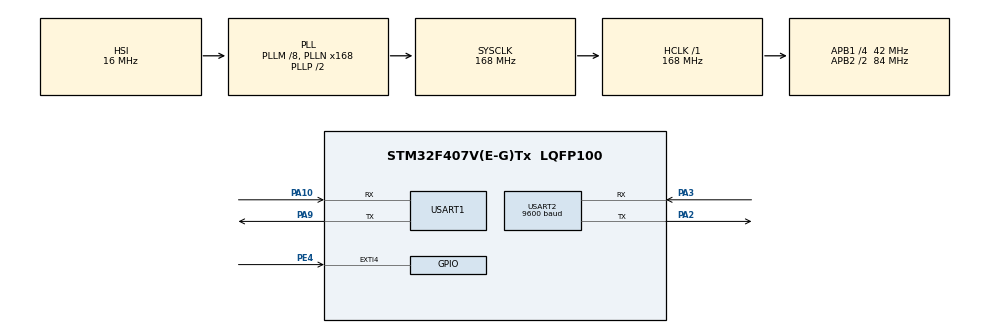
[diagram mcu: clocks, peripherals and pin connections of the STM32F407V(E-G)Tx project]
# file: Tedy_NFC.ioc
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Mcu.Family=STM32F4
Mcu.Name=STM32F407V(E-G)Tx
Mcu.Package=LQFP100
NVIC.EXTI4_IRQn=true\:2\:0\:true\:false\:true\:true
NVIC.PriorityGroup=NVIC_PRIORITYGROUP_4
NVIC.RCC_IRQn=true\:0\:0\:false\:false\:true\:true
NVIC.USART1_IRQn=true\:1\:0\:true\:false\:true\:true
NVIC.USART2_IRQn=true\:3\:0\:true\:false\:true\:true
PA10.Mode=Asynchronous
PA10.Signal=USART1_RX
PA13.Mode=Serial_Wire
PA13.Signal=SYS_JTMS-SWDIO
PA14.Mode=Serial_Wire
PA14.Signal=SYS_JTCK-SWCLK
PA2.Mode=Asynchronous
PA2.Signal=USART2_TX
PA3.Mode=Asynchronous
PA3.Signal=USART2_RX
PA9.Mode=Asynchronous
PA9.Signal=USART1_TX
PE4.GPIO_ModeDefaultEXTI=GPIO_MODE_IT_RISING_FALLING
PE4.GPIO_PuPd=GPIO_PULLUP
PE4.Signal=GPXTI4
PH0-OSC_IN.Mode=HSE-External-Oscillator
PH0-OSC_IN.Signal=RCC_OSC_IN
PH1-OSC_OUT.Mode=HSE-External-Oscillator
PH1-OSC_OUT.Signal=RCC_OSC_OUT
ProjectManager.HeapSize=0x200
ProjectManager.StackSize=0x400
ProjectManager.TargetToolchain=MDK-ARM V5
RCC.48MHZClocksFreq_Value=84000000
RCC.AHBFreq_Value=168000000
RCC.APB1CLKDivider=RCC_HCLK_DIV4
RCC.APB1Freq_Value=42000000
RCC.APB1TimFreq_Value=84000000
RCC.APB2CLKDivider=RCC_HCLK_DIV2
RCC.APB2Freq_Value=84000000
RCC.APB2TimFreq_Value=168000000
RCC.CortexFreq_Value=168000000
RCC.HCLKFreq_Value=168000000
RCC.HSE_VALUE=25000000
RCC.HSI_VALUE=16000000
RCC.LSE_VALUE=32768
RCC.PLLM=8
RCC.PLLN=168
RCC.SYSCLKFreq_VALUE=168000000
RCC.SYSCLKSource=RCC_SYSCLKSOURCE_PLLCLK
RCC.VCOOutputFreq_Value=336000000
USART1.VirtualMode=VM_ASYNC
USART2.BaudRate=9600
USART2.VirtualMode=VM_ASYNC
board=custom

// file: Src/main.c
/**
  ******************************************************************************
  * @file           : main.c
  * @brief          : Main program body
  ******************************************************************************
  ** This notice applies to any and all portions of this file
  * that are not between comment pairs USER CODE BEGIN and
  * USER CODE END. Other portions of this file, whether
  * inserted by the user or by software development tools
  * are owned by their respective copyright owners.
  *
  * COPYRIGHT(c) 2019 STMicroelectronics
  *
  * Redistribution and use in source and binary forms, with or without modification,
  * are permitted provided that the following conditions are met:
  *   1. Redistributions of source code must retain the above copyright notice,
  *      this list of conditions and the following disclaimer.
  *   2. Redistributions in binary form must reproduce the above copyright notice,
  *      this list of conditions and the following disclaimer in the documentation
  *      and/or other materials provided with the distribution.
  *   3. Neither the name of STMicroelectronics nor the names of its contributors
  *      may be used to endorse or promote products derived from this software
  *      without specific prior written permission.
  *
  * THIS SOFTWARE IS PROVIDED BY THE COPYRIGHT HOLDERS AND CONTRIBUTORS "AS IS"
  * AND ANY EXPRESS OR IMPLIED WARRANTIES, INCLUDING, BUT NOT LIMITED TO, THE
  * IMPLIED WARRANTIES OF MERCHANTABILITY AND FITNESS FOR A PARTICULAR PURPOSE ARE
  * DISCLAIMED. IN NO EVENT SHALL THE COPYRIGHT HOLDER OR CONTRIBUTORS BE LIABLE
  * FOR ANY DIRECT, INDIRECT, INCIDENTAL, SPECIAL, EXEMPLARY, OR CONSEQUENTIAL
  * DAMAGES (INCLUDING, BUT NOT LIMITED TO, PROCUREMENT OF SUBSTITUTE GOODS OR
  * SERVICES; LOSS OF USE, DATA, OR PROFITS; OR BUSINESS INTERRUPTION) HOWEVER
  * CAUSED AND ON ANY THEORY OF LIABILITY, WHETHER IN CONTRACT, STRICT LIABILITY,
  * OR TORT (INCLUDING NEGLIGENCE OR OTHERWISE) ARISING IN ANY WAY OUT OF THE USE
  * OF THIS SOFTWARE, EVEN IF ADVISED OF THE POSSIBILITY OF SUCH DAMAGE.
  *
  ******************************************************************************
  */
#include "main.h"
#include "stm32f4xx_hal.h"
#include "usart.h"
#include "gpio.h"

/* USER CODE BEGIN Includes */
#include "PN532.h"
#include "NFC_Tag.h"
#include "FN_RM01.h"

/* USER CODE END Includes */

/* USER CODE BEGIN PV */
NFC_Tag tag;
char file_name[4];
int file_num;
int is_recording = 0;
/* Private variables ---------------------------------------------------------*/

/* USER CODE END PV */

void SystemClock_Config(void);

/* USER CODE BEGIN PFP */
/* Private function prototypes -----------------------------------------------*/

/* USER CODE END PFP */

int main(void)
{

  /* MCU Configuration----------------------------------------------------------*/

  /* Reset of all peripherals, Initializes the Flash interface and the Systick. */
  HAL_Init();

  /* Configure the system clock */
  SystemClock_Config();

  /* Initialize all configured peripherals */
  MX_GPIO_Init();
  MX_USART1_UART_Init();
  MX_USART2_UART_Init();
  /* USER CODE BEGIN 2 */
	HAL_UART_Receive_IT(&huart1,&uart1_rx_temp,1);
	HAL_UART_Receive_IT(&huart2,&uart2_rx_temp,1);
//	FN_RM01_Get_File_Num(&file_num);
  PN532_WakeUp();
	PN532_SAMConfig();
	FN_RM01_Play_Sound("powe");

  /* USER CODE END 2 */

  /* Infinite loop */
  while (1)
  {

  /* USER CODE BEGIN 3 */
		HAL_Delay(300);
		if(!is_recording)
		{
			HAL_NVIC_DisableIRQ(EXTI4_IRQn);
			if(PN532_InListPassiveTarget(PN532_MIFARE_ISO14443A, &tag))
			{
				if(PN532_Read_Tag(&tag))
				{
					memcpy(file_name, tag.ndefMessage.record[0].payload+3,4);
					FN_RM01_Play_Sound(file_name);
				}
				memset(file_name, 0, 4);
				NFC_Clear_Tag(&tag);
			}
			HAL_NVIC_EnableIRQ(EXTI4_IRQn);
		}
  }
  /* USER CODE END 3 */

}

void SystemClock_Config(void)
{

  RCC_OscInitTypeDef RCC_OscInitStruct;
  RCC_ClkInitTypeDef RCC_ClkInitStruct;

    /**Configure the main internal regulator output voltage
    */
  __HAL_RCC_PWR_CLK_ENABLE();

  __HAL_PWR_VOLTAGESCALING_CONFIG(PWR_REGULATOR_VOLTAGE_SCALE1);

    /**Initializes the CPU, AHB and APB busses clocks
    */
  RCC_OscInitStruct.OscillatorType = RCC_OSCILLATORTYPE_HSI;
  RCC_OscInitStruct.HSIState = RCC_HSI_ON;
  RCC_OscInitStruct.HSICalibrationValue = 16;
  RCC_OscInitStruct.PLL.PLLState = RCC_PLL_ON;
  RCC_OscInitStruct.PLL.PLLSource = RCC_PLLSOURCE_HSI;
  RCC_OscInitStruct.PLL.PLLM = 8;
  RCC_OscInitStruct.PLL.PLLN = 168;
  RCC_OscInitStruct.PLL.PLLP = RCC_PLLP_DIV2;
  RCC_OscInitStruct.PLL.PLLQ = 4;
  if (HAL_RCC_OscConfig(&RCC_OscInitStruct) != HAL_OK)
  {
    _Error_Handler(__FILE__, __LINE__);
  }

    /**Initializes the CPU, AHB and APB busses clocks
    */
  RCC_ClkInitStruct.ClockType = RCC_CLOCKTYPE_HCLK|RCC_CLOCKTYPE_SYSCLK
                              |RCC_CLOCKTYPE_PCLK1|RCC_CLOCKTYPE_PCLK2;
  RCC_ClkInitStruct.SYSCLKSource = RCC_SYSCLKSOURCE_PLLCLK;
  RCC_ClkInitStruct.AHBCLKDivider = RCC_SYSCLK_DIV1;
  RCC_ClkInitStruct.APB1CLKDivider = RCC_HCLK_DIV4;
  RCC_ClkInitStruct.APB2CLKDivider = RCC_HCLK_DIV2;

  if (HAL_RCC_ClockConfig(&RCC_ClkInitStruct, FLASH_LATENCY_5) != HAL_OK)
  {
    _Error_Handler(__FILE__, __LINE__);
  }

    /**Configure the Systick interrupt time
    */
  HAL_SYSTICK_Config(HAL_RCC_GetHCLKFreq()/1000);

    /**Configure the Systick
    */
  HAL_SYSTICK_CLKSourceConfig(SYSTICK_CLKSOURCE_HCLK);

  /* SysTick_IRQn interrupt configuration */
  HAL_NVIC_SetPriority(SysTick_IRQn, 0, 0);
}

void _Error_Handler(char *file, int line)
{
  while(1)
  {
  }
}

/************************ (C) COPYRIGHT STMicroelectronics *****END OF FILE****/
